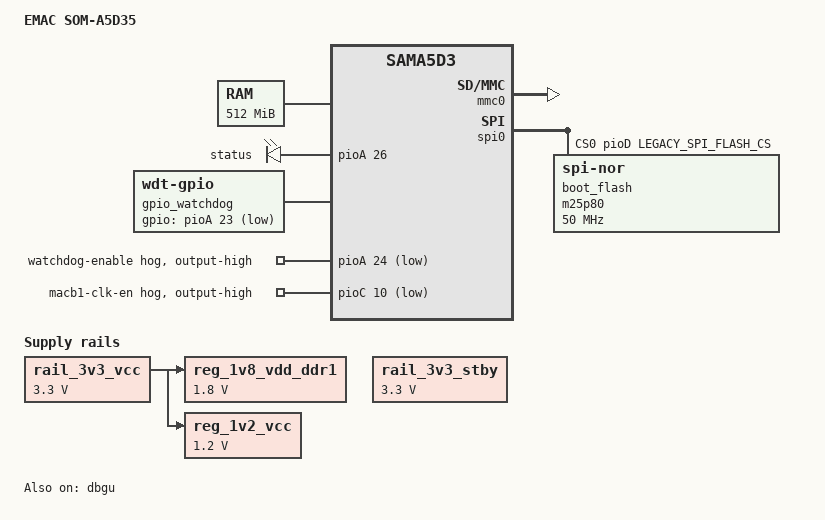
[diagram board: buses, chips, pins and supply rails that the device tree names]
/*
 * som-a5d36-bare.dtsi - Device Tree include file for the SOM-A5D36.
 *
 * Copyright (C) 2023 EMAC Inc.
 *
 * This program is free software; you can redistribute it and/or modify
 * it under the terms of the GNU General Public License version 2 as
 * published by the Free Software Foundation.
 */
#include "sama5d35.dtsi"
#include <dt-bindings/gpio/gpio.h>

#define LEGACY_SPI_FLASH_CS 	13
#define CURRENT_SPI_FLASH_CS 	14

/ {
	model = "EMAC SOM-A5D35";
	compatible = "emac,soma5d35", "atmel,sama5d35", "atmel,sama5d3", "atmel,sama5";

	chosen {
		stdout-path = &dbgu;
	};

	// 512 MB RAM
	memory@20000000 {
		reg = <0x20000000 0x20000000>;
	};

	clocks {
		#address-cells = <1>;
		#size-cells = <1>;
		ranges;

		slow_xtal {
			clock-frequency = <32768>;
		};

		main_xtal {
			clock-frequency = <12000000>;
		};
	};

	leds {
		compatible = "gpio-leds";
		status {
			label = "status";
			gpios = <&pioA 26 GPIO_ACTIVE_HIGH>;
			default-state = "on";
		};
	};

	regulators {
		compatible = "simple-bus";
		#address-cells = <1>;
		#size-cells = <0>;

		reg_1v8_vdd_ddr1: reg_1v8_vdd_ddr1 {
			compatible = "regulator-fixed";
			regulator-name = "1V8_VDD_DDR1";
			regulator-min-microvolt = <1800000>;
			regulator-max-microvolt = <1800000>;
			regulator-always-on;
			vin-supply = <&rail_3v3_vcc>;
		};
		reg_1v2_vcc: reg_1v2_vcc {
			compatible = "regulator-fixed";
			regulator-name = "1V2_VCC";
			regulator-min-microvolt = <1200000>;
			regulator-max-microvolt = <1200000>;
			regulator-always-on;
			vin-supply = <&rail_3v3_vcc>;
		};
		rail_3v3_vcc: rail_3v3_vcc {
			compatible = "regulator-fixed";
			regulator-name = "3V3_VCC";
			regulator-min-microvolt = <3300000>;
			regulator-max-microvolt = <3300000>;
			regulator-always-on;
		};
		rail_3v3_stby: rail_3v3_stby {
			compatible = "regulator-fixed";
			regulator-name = "3V3_STBY";
			regulator-min-microvolt = <3300000>;
			regulator-max-microvolt = <3300000>;
			regulator-always-on;
		};
	};

	gpio_watchdog: watchdog {
		/* MAX6747 */
		compatible = "linux,wdt-gpio";
		pinctrl-names = "default";
		pinctrl-0 = <&pinctrl_watchdog>;
		gpios = <&pioA 23 GPIO_ACTIVE_LOW>;
		hw_algo = "level";
		hw_margin_ms = <1000>;
		status = "disabled";
	};
};

&{/ahb/apb/pinctrl@fffff200} {
	watchdog {
		pinctrl_watchdog: pinctrl_watchdog {
			atmel,pins =
				<AT91_PIOA 23 AT91_PERIPH_GPIO AT91_PINCTRL_PULL_UP>;
		};
	};
	usba {
		pinctrl_usba_vbus: pinctrl_usba_vbus {
			atmel,pins =
				<AT91_PIOD 30 AT91_PERIPH_GPIO AT91_PINCTRL_DEGLITCH>;
		};
	};
	spi0 {
		pinctrl_spi0_cs0: spi0-cs0-0 {
			atmel,pins =
				<AT91_PIOD LEGACY_SPI_FLASH_CS AT91_PERIPH_GPIO AT91_PINCTRL_NONE>;
		};
	};
};

&pioA {
	gpio_watchdog_en: watchdog-enable {
		gpio-hog;
		gpios = <24 GPIO_ACTIVE_LOW>;
		output-high;
		/* LOW - enabled , HIGH - disabled */
		line-name = "watchdog-enable";
	};
};

&pioC {
	macb1_clk_en: macb1_clk_en {
		gpio-hog;
		gpios = <10 GPIO_ACTIVE_LOW>;
		output-high;
		line-name = "macb1-clk-en";
	};
};

&macb1 {
	phy-handle = <&ethphy1>;
	phy-mode = "rmii";
	status = "disabled";
	#address-cells = <1>;
	#size-cells = <0>;
	ethphy1: ethernet-phy@1 {
		reg = <1>;
	};
};

&mmc0 {
	pinctrl-names = "default";
	pinctrl-0 = <&pinctrl_mmc0_clk_cmd_dat0 &pinctrl_mmc0_dat1_3>;
	status = "okay";
	slot@0 {
		reg = <0>;
		bus-width = <4>;
		non-removable;
		no-1-8-v;
	};
};

&i2c0 {
	status = "disabled";
	clock-frequency = <400000>;
	
	eeprom: atmel@50 {
		compatible = "atmel,24c02";
		reg = <0x50>;
		status = "disabled";
	};
};

&spi0 {
	dmas = <0>, <0>;	/*  Do not use DMA for spi0 */
	num-cs = <1>;
	pinctrl-0 = <&pinctrl_spi0 &pinctrl_spi0_cs0>;
	cs-gpios = <&pioD LEGACY_SPI_FLASH_CS 0>;
	status = "okay";
	boot_flash: m25p80@0 {
		compatible = "jedec,spi-nor";
		spi-max-frequency = <50000000>;
		reg = <0>;
	};
};

&usb0 {
	atmel,vbus-gpio = <&pioD 30 GPIO_ACTIVE_HIGH>;
	pinctrl-names = "default";
	pinctrl-0 = <&pinctrl_usba_vbus>;
	status = "disabled";
};

&usb1 {
	num-ports = <3>;
	status = "disabled";
};

// Enable Watchdog
&gpio_watchdog {
	status = "okay";
};
&gpio_watchdog_en {
	output-low;
	/* LOW - enabled , HIGH - disabled */
};

// COM B
&dbgu {
	dmas = <0>, <0>;	/*  Do not use DMA for dbgu */
	status = "okay";
};
